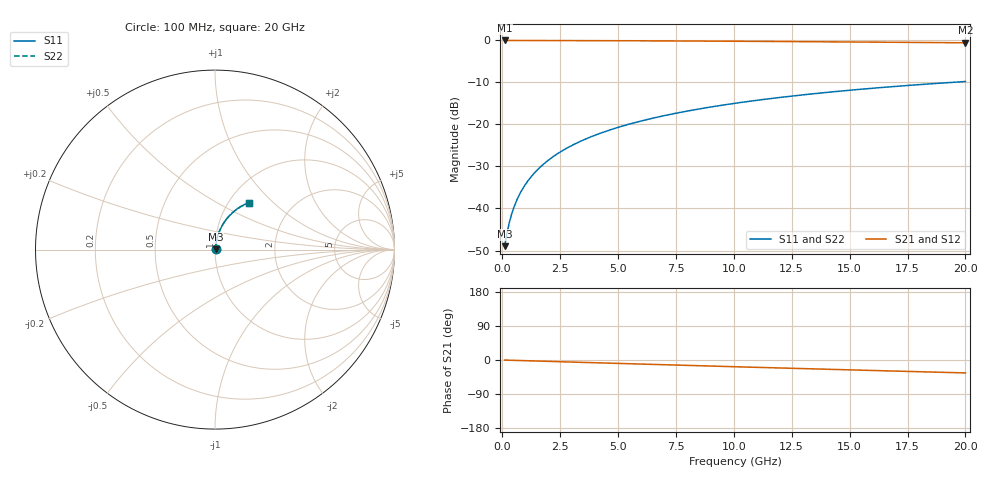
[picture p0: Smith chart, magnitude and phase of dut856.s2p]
! Touchstone file exported from HFSS 2026.1.0
!  File:  C:/ffzhzh/LocalFiles/Ansys_Project_Files/temp_train_TMRDL_856_1783157077_43440.aedt
!  Generated:  05:25:47 PM Jul  4, 2026
!  Design:  TMRDL
!  Project:  temp_train_TMRDL_856_1783157077_43440
! Variables:
!  h_bsmrdl = 2um
!  h_ox = 20um
!  h_rdl = 5um
!  h_sub = 80um
!  h_tmrdl = 3.79um
!  h_tsv = 80um
!  h_via = 3um
!  l_bsmrdl = 300um
!  l_sub = 889.12um
!  l_tmrdl = 489.12um
!  m_sub = 200um
!  pitch = 38.75um
!  r_tsv = 6um
!  s_tmrdl = 10um
!  w_bsmrdl = 18um
!  w_sub = 500um
!  w_tmrdl = 16.4um
!  x_tsv_center1 = 497.32um
!  x_tsv_center2 = 815.32um
!  x_tsv_center3 = 1320.84um
!  x_tsv_center4 = 1638.84um
!  x_tsv_center5 = 2144.36um
!  x_tsv_center6 = 2462.36um
# GHz S MA R 50.000000
! Terminal data exported
! Port[1] = TM_RDL1_1_T1
! Port[2] = TM_RDL1_1_T2
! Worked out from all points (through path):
!   200 points, 100 MHz to 20 GHz, reference 50 ohm
!   highest |S21| = -0.03 dB at 100 MHz (marker M1); lowest = -0.6 dB at 20 GHz (marker M2)
!   group delay of S21, straight-line fit = 4.73 ps
!   lowest |S11| = -49.0 dB at 100 MHz (marker M3), VSWR 1.01, Z = 50.3 + j0.204 ohm
!   |S11| at or under -10 dB: start of sweep to 19.41 GHz
!   |S22| runs from -49.0 to -9.8 dB; largest |S21 - S12| = 3.8e-15
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0.1  0.003564 34.7  0.9971 -0.2  0.9971 -0.2  0.003564 34.7
! Gamma 0 0 0 0
! Port Impedance 50 0 50 0
0.2  0.005036 52.8  0.997 -0.4  0.997 -0.4  0.005036 52.8
0.3  0.006742 61.8  0.9968 -0.6  0.9968 -0.6  0.006742 61.8
0.4  0.008508 66.9  0.9967 -0.7  0.9967 -0.7  0.008508 66.9
0.5  0.01029 70.2  0.9966 -0.9  0.9966 -0.9  0.01029 70.2
0.6  0.01209 72.6  0.9965 -1.1  0.9965 -1.1  0.01209 72.6
0.8  0.0157 75.6  0.9964 -1.5  0.9964 -1.5  0.0157 75.6
1.1  0.02117 78.1  0.9962 -2.0  0.9962 -2.0  0.02117 78.1
1.3  0.02484 79.1  0.996 -2.4  0.996 -2.4  0.02484 79.1
1.6  0.03037 79.9  0.9958 -2.9  0.9958 -2.9  0.03037 79.9
2.1  0.03959 80.4  0.9953 -3.8  0.9953 -3.8  0.03959 80.4
2.7  0.05063 80.3  0.9945 -4.9  0.9945 -4.9  0.05063 80.3
3.5  0.06526 79.6  0.9933 -6.3  0.9933 -6.3  0.06526 79.6
4.2  0.07794 78.8  0.992 -7.6  0.992 -7.6  0.07794 78.8
5  0.09228 77.6  0.9903 -9.0  0.9903 -9.0  0.09228 77.6
5.9  0.1082 76.2  0.9882 -10.6  0.9882 -10.6  0.1082 76.3
6.8  0.1239 74.8  0.9859 -12.2  0.9859 -12.2  0.1239 74.8
8.3  0.1494 72.4  0.9815 -14.8  0.9815 -14.8  0.1494 72.4
10.1  0.1792 69.5  0.9757 -17.9  0.9757 -17.9  0.1792 69.5
13.4  0.2311 64.2  0.9635 -23.4  0.9635 -23.4  0.2311 64.2
16.7  0.2795 59.1  0.9499 -28.8  0.9499 -28.8  0.2795 59.1
20  0.3238 54.0  0.9352 -34.1  0.9352 -34.1  0.3238 54.0
